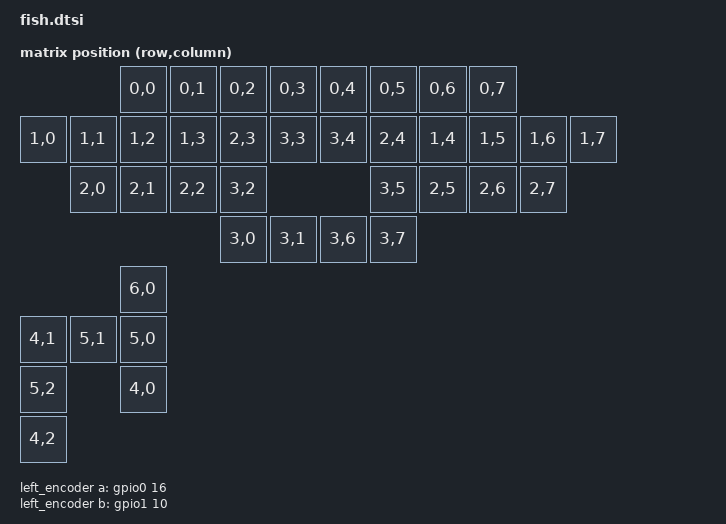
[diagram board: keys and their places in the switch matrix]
#include <dt-bindings/zmk/matrix_transform.h>

/ {
    chosen {
        zmk,kscan = &kscan0;
        zmk,matrix_transform = &default_transform;
        zmk,physical-layout = &physical_layout0;
    };

    default_transform: keymap_transform_0 {
        compatible = "zmk,matrix-transform";
        rows = <7>;
        columns = <8>;
        map = <
                            RC(0,0) RC(0,1) RC(0,2) RC(0,3)     RC(0,4) RC(0,5) RC(0,6) RC(0,7)
            RC(1,0) RC(1,1) RC(1,2) RC(1,3) RC(2,3) RC(3,3)     RC(3,4) RC(2,4) RC(1,4) RC(1,5) RC(1,6) RC(1,7)
                    RC(2,0) RC(2,1) RC(2,2) RC(3,2)                     RC(3,5) RC(2,5) RC(2,6) RC(2,7)
                                            RC(3,0) RC(3,1)     RC(3,6) RC(3,7)
                            RC(6,0)
            RC(4,1) RC(5,1) RC(5,0)
            RC(5,2)         RC(4,0)
            RC(4,2)
        >;
    };

    kscan0: kscan_0 {
        compatible = "zmk,kscan-gpio-matrix";
        label = "KSCAN";
        diode-direction = "row2col";
    };

    physical_layout0: physical_layout_0 {
        compatible = "zmk,physical-layout";
        display-name = "Default Layout";
        transform = <&default_transform>;
    };

    left_encoder: encoder_left {
        compatible = "alps,ec11";
        a-gpios = <&gpio0 16 (GPIO_ACTIVE_HIGH | GPIO_PULL_UP)>;
        b-gpios = <&gpio1 10 (GPIO_ACTIVE_HIGH | GPIO_PULL_UP)>;
        steps = <96>;
        status = "disabled";
    };

    trackball_listener: trackball_listener {
        compatible = "zmk,input-listener";
        status = "disabled";
    };

};
